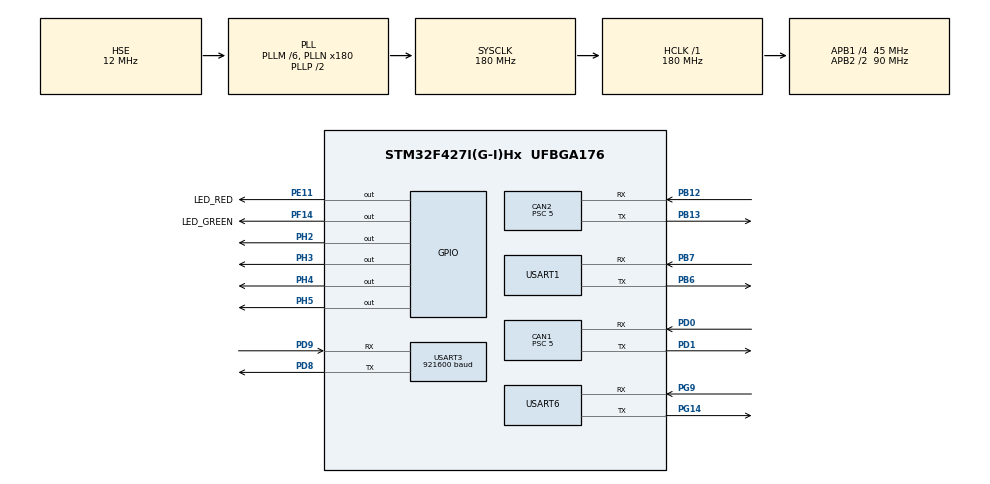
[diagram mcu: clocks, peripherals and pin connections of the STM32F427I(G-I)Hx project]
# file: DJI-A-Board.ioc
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CAN1.ABOM=ENABLE
CAN1.BS1=CAN_BS1_3TQ
CAN1.BS2=CAN_BS2_5TQ
CAN1.CalculateBaudRate=1000000
CAN1.CalculateTimeBit=1000
CAN1.CalculateTimeQuantum=111.11111111111111
CAN1.Prescaler=5
CAN2.ABOM=ENABLE
CAN2.BS1=CAN_BS1_3TQ
CAN2.BS2=CAN_BS2_5TQ
CAN2.CalculateBaudRate=1000000
CAN2.CalculateTimeBit=1000
CAN2.CalculateTimeQuantum=111.11111111111111
CAN2.Prescaler=5
Dma.Request0=USART6_RX
Dma.Request1=USART6_TX
Dma.Request2=USART1_RX
Dma.Request3=USART3_RX
Dma.USART1_RX.2.Direction=DMA_PERIPH_TO_MEMORY
Dma.USART1_RX.2.FIFOMode=DMA_FIFOMODE_DISABLE
Dma.USART1_RX.2.Instance=DMA2_Stream2
Dma.USART1_RX.2.MemDataAlignment=DMA_MDATAALIGN_BYTE
Dma.USART1_RX.2.MemInc=DMA_MINC_ENABLE
Dma.USART1_RX.2.Mode=DMA_NORMAL
Dma.USART1_RX.2.PeriphDataAlignment=DMA_PDATAALIGN_BYTE
Dma.USART1_RX.2.PeriphInc=DMA_PINC_DISABLE
Dma.USART1_RX.2.Priority=DMA_PRIORITY_LOW
Dma.USART3_RX.3.Direction=DMA_PERIPH_TO_MEMORY
Dma.USART3_RX.3.FIFOMode=DMA_FIFOMODE_DISABLE
Dma.USART3_RX.3.Instance=DMA1_Stream1
Dma.USART3_RX.3.MemDataAlignment=DMA_MDATAALIGN_BYTE
Dma.USART3_RX.3.MemInc=DMA_MINC_ENABLE
Dma.USART3_RX.3.Mode=DMA_NORMAL
Dma.USART3_RX.3.PeriphDataAlignment=DMA_PDATAALIGN_BYTE
Dma.USART3_RX.3.PeriphInc=DMA_PINC_DISABLE
Dma.USART3_RX.3.Priority=DMA_PRIORITY_LOW
Dma.USART6_RX.0.Direction=DMA_PERIPH_TO_MEMORY
Dma.USART6_RX.0.FIFOMode=DMA_FIFOMODE_DISABLE
Dma.USART6_RX.0.Instance=DMA2_Stream1
Dma.USART6_RX.0.MemDataAlignment=DMA_MDATAALIGN_BYTE
Dma.USART6_RX.0.MemInc=DMA_MINC_ENABLE
Dma.USART6_RX.0.Mode=DMA_NORMAL
Dma.USART6_RX.0.PeriphDataAlignment=DMA_PDATAALIGN_BYTE
Dma.USART6_RX.0.PeriphInc=DMA_PINC_DISABLE
Dma.USART6_RX.0.Priority=DMA_PRIORITY_LOW
Dma.USART6_TX.1.Direction=DMA_MEMORY_TO_PERIPH
Dma.USART6_TX.1.FIFOMode=DMA_FIFOMODE_DISABLE
Dma.USART6_TX.1.Instance=DMA2_Stream6
Dma.USART6_TX.1.MemDataAlignment=DMA_MDATAALIGN_BYTE
Dma.USART6_TX.1.MemInc=DMA_MINC_ENABLE
Dma.USART6_TX.1.Mode=DMA_NORMAL
Dma.USART6_TX.1.PeriphDataAlignment=DMA_PDATAALIGN_BYTE
Dma.USART6_TX.1.PeriphInc=DMA_PINC_DISABLE
Dma.USART6_TX.1.Priority=DMA_PRIORITY_LOW
Mcu.Family=STM32F4
Mcu.Name=STM32F427I(G-I)Hx
Mcu.Package=UFBGA176
NVIC.CAN1_RX0_IRQn=true\:0\:0\:false\:false\:true\:true\:true\:true
NVIC.DMA1_Stream1_IRQn=true\:0\:0\:false\:false\:true\:false\:true\:true
NVIC.DMA2_Stream1_IRQn=true\:0\:0\:false\:false\:true\:false\:true\:true
NVIC.DMA2_Stream2_IRQn=true\:0\:0\:false\:false\:true\:false\:true\:true
NVIC.DMA2_Stream6_IRQn=true\:0\:0\:false\:false\:true\:false\:true\:true
NVIC.PriorityGroup=NVIC_PRIORITYGROUP_4
NVIC.USART6_IRQn=true\:0\:0\:false\:false\:true\:true\:true\:true
PA13.Mode=Serial_Wire
PA13.Signal=SYS_JTMS-SWDIO
PA14.Mode=Serial_Wire
PA14.Signal=SYS_JTCK-SWCLK
PB12.Mode=CAN_Activate
PB12.Signal=CAN2_RX
PB13.Mode=CAN_Activate
PB13.Signal=CAN2_TX
PB6.Mode=Asynchronous
PB6.Signal=USART1_TX
PB7.Mode=Asynchronous
PB7.Signal=USART1_RX
PD0.Mode=CAN_Activate
PD0.Signal=CAN1_RX
PD1.Mode=CAN_Activate
PD1.Signal=CAN1_TX
PD8.GPIO_ModeDefaultPP=GPIO_MODE_AF_PP
PD8.Mode=Asynchronous
PD8.Signal=USART3_TX
PD9.GPIO_ModeDefaultPP=GPIO_MODE_AF_PP
PD9.Mode=Asynchronous
PD9.Signal=USART3_RX
PE11.GPIO_Label=LED_RED
PE11.GPIO_PuPd=GPIO_PULLUP
PE11.PinState=GPIO_PIN_SET
PE11.Signal=GPIO_Output
PF14.GPIO_Label=LED_GREEN
PF14.GPIO_PuPd=GPIO_PULLUP
PF14.PinState=GPIO_PIN_SET
PF14.Signal=GPIO_Output
PG14.GPIO_PuPd=GPIO_NOPULL
PG14.Mode=Asynchronous
PG14.Signal=USART6_TX
PG9.GPIO_PuPd=GPIO_NOPULL
PG9.Mode=Asynchronous
PG9.Signal=USART6_RX
PH0/OSC_IN.Mode=HSE-External-Oscillator
PH0/OSC_IN.Signal=RCC_OSC_IN
PH1/OSC_OUT.Mode=HSE-External-Oscillator
PH1/OSC_OUT.Signal=RCC_OSC_OUT
PH2.GPIO_PuPd=GPIO_PULLUP
PH2.PinState=GPIO_PIN_SET
PH2.Signal=GPIO_Output
PH3.GPIO_PuPd=GPIO_PULLUP
PH3.PinState=GPIO_PIN_SET
PH3.Signal=GPIO_Output
PH4.GPIO_PuPd=GPIO_PULLUP
PH4.PinState=GPIO_PIN_SET
PH4.Signal=GPIO_Output
PH5.GPIO_PuPd=GPIO_PULLUP
PH5.PinState=GPIO_PIN_SET
PH5.Signal=GPIO_Output
ProjectManager.HeapSize=0x200
ProjectManager.StackSize=0x400
ProjectManager.TargetToolchain=STM32CubeIDE
RCC.48MHZClocksFreq_Value=90000000
RCC.AHBFreq_Value=180000000
RCC.APB1CLKDivider=RCC_HCLK_DIV4
RCC.APB1Freq_Value=45000000
RCC.APB1TimFreq_Value=90000000
RCC.APB2CLKDivider=RCC_HCLK_DIV2
RCC.APB2Freq_Value=90000000
RCC.APB2TimFreq_Value=180000000
RCC.CortexFreq_Value=180000000
RCC.HCLKFreq_Value=180000000
RCC.HSE_VALUE=12000000
RCC.HSI_VALUE=16000000
RCC.LSE_VALUE=32768
RCC.PLLM=6
RCC.PLLN=180
RCC.PLLSourceVirtual=RCC_PLLSOURCE_HSE
RCC.SYSCLKFreq_VALUE=180000000
RCC.SYSCLKSource=RCC_SYSCLKSOURCE_PLLCLK
RCC.VCOOutputFreq_Value=360000000
TIM14.Period=10000-1
TIM14.Prescaler=45000-1
USART1.VirtualMode=VM_ASYNC
USART3.BaudRate=921600
USART3.VirtualMode=VM_ASYNC
USART6.VirtualMode=VM_ASYNC
VP_TIM14_VS_ClockSourceINT.Mode=Enable_Timer
board=custom

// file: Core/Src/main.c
/* USER CODE BEGIN Header */
/**
  ******************************************************************************
  * @file           : main.c
  * @brief          : Main program body
  ******************************************************************************
  * @attention
  *
  * Copyright (c) 2025 STMicroelectronics.
  * All rights reserved.
  *
  * This software is licensed under terms that can be found in the LICENSE file
  * in the root directory of this software component.
  * If no LICENSE file comes with this software, it is provided AS-IS.
  *
  ******************************************************************************
  */
/* USER CODE END Header */
#include "main.h"

/* USER CODE BEGIN Includes */
#include  "bsp.h"
#include <stdio.h>

/* USER CODE END Includes */

CAN_HandleTypeDef hcan1;
CAN_HandleTypeDef hcan2;

TIM_HandleTypeDef htim14;

UART_HandleTypeDef huart1;
UART_HandleTypeDef huart3;
UART_HandleTypeDef huart6;
DMA_HandleTypeDef hdma_usart1_rx;
DMA_HandleTypeDef hdma_usart3_rx;
DMA_HandleTypeDef hdma_usart6_rx;
DMA_HandleTypeDef hdma_usart6_tx;

void SystemClock_Config(void);
static void MX_GPIO_Init(void);
static void MX_DMA_Init(void);
static void MX_USART1_UART_Init(void);
static void MX_USART6_UART_Init(void);
static void MX_CAN1_Init(void);
static void MX_TIM14_Init(void);
static void MX_CAN2_Init(void);
static void MX_USART3_UART_Init(void);

int main(void)
{

  /* MCU Configuration--------------------------------------------------------*/

  /* Reset of all peripherals, Initializes the Flash interface and the Systick. */
  HAL_Init();

  /* Configure the system clock */
  SystemClock_Config();

  /* Initialize all configured peripherals */
  MX_GPIO_Init();
  MX_DMA_Init();
  MX_USART1_UART_Init();
  MX_USART6_UART_Init();
  MX_CAN1_Init();
  MX_TIM14_Init();
  MX_CAN2_Init();
  MX_USART3_UART_Init();
  /* USER CODE BEGIN 2 */

//  UART_Init(&user_debug_uart, &huart6, user_debug_uart_callback);
  DJI_VT03_Init(&user_vt03);
  DBUS_Init(&user_dbus_DR16, &huart1);
  LED_Init(&red_led, LED_RED_GPIO_Port, LED_RED_Pin, 1);
  LED_Init(&green_led, LED_GREEN_GPIO_Port, LED_GREEN_Pin, 1);
  CAN_Init(&user_can_1, &hcan1, user_can_1_callback);
  CAN_Init(&user_can_2, &hcan2, user_can_2_callback);
  DJI_Motor_Init(&PICH_GM6020, &user_can_1, 2, GM6020, Rotor_angle, 15.0f , 0.001f, 100.0f, 15000, 5000);
  DJI_Motor_Target(&PICH_GM6020, 3700.0700f);
  DJI_Motor_Init(&THC_GM6020, &user_can_1, 3, GM6020, Rotor_angle, 20.0f , 0.0f, 180.0f, 25000, 0);
  DJI_Motor_Target(&THC_GM6020, 5450);

  DJI_Motor_Init(&LW_M3508, &user_can_1, 2, M3508_gear, Rotor_speed, 20.0f , 0.0f, 180.0f, 10000, 0);
  DJI_Motor_Target(&LW_M3508, 0);
  DJI_Motor_Init(&RW_M3508, &user_can_1, 3, M3508_gear, Rotor_speed, 20.0f , 0.0f, 180.0f, 10000, 0);
  DJI_Motor_Target(&RW_M3508, 0);
//拨弹盘归位初始化
  DJI_Motor_Init(&TP_M2006, &user_can_1, 1, M2006, Rotor_speed, 10.0f , 0.0f, 0.0f, 5000, 0);
  DJI_Motor_Target(&TP_M2006, 100);

  /* USER CODE END 2 */

  /* Infinite loop */
  while (1)
  {

    /* USER CODE BEGIN 3 */
    LOOP_EVENT_Handle();
  }
  /* USER CODE END 3 */
}

void SystemClock_Config(void)
{
  RCC_OscInitTypeDef RCC_OscInitStruct = {0};
  RCC_ClkInitTypeDef RCC_ClkInitStruct = {0};

  /** Configure the main internal regulator output voltage
  */
  __HAL_RCC_PWR_CLK_ENABLE();
  __HAL_PWR_VOLTAGESCALING_CONFIG(PWR_REGULATOR_VOLTAGE_SCALE1);

  /** Initializes the RCC Oscillators according to the specified parameters
  * in the RCC_OscInitTypeDef structure.
  */
  RCC_OscInitStruct.OscillatorType = RCC_OSCILLATORTYPE_HSE;
  RCC_OscInitStruct.HSEState = RCC_HSE_ON;
  RCC_OscInitStruct.PLL.PLLState = RCC_PLL_ON;
  RCC_OscInitStruct.PLL.PLLSource = RCC_PLLSOURCE_HSE;
  RCC_OscInitStruct.PLL.PLLM = 6;
  RCC_OscInitStruct.PLL.PLLN = 180;
  RCC_OscInitStruct.PLL.PLLP = RCC_PLLP_DIV2;
  RCC_OscInitStruct.PLL.PLLQ = 4;
  if (HAL_RCC_OscConfig(&RCC_OscInitStruct) != HAL_OK)
  {
    Error_Handler();
  }

  /** Activate the Over-Drive mode
  */
  if (HAL_PWREx_EnableOverDrive() != HAL_OK)
  {
    Error_Handler();
  }

  /** Initializes the CPU, AHB and APB buses clocks
  */
  RCC_ClkInitStruct.ClockType = RCC_CLOCKTYPE_HCLK|RCC_CLOCKTYPE_SYSCLK
                              |RCC_CLOCKTYPE_PCLK1|RCC_CLOCKTYPE_PCLK2;
  RCC_ClkInitStruct.SYSCLKSource = RCC_SYSCLKSOURCE_PLLCLK;
  RCC_ClkInitStruct.AHBCLKDivider = RCC_SYSCLK_DIV1;
  RCC_ClkInitStruct.APB1CLKDivider = RCC_HCLK_DIV4;
  RCC_ClkInitStruct.APB2CLKDivider = RCC_HCLK_DIV2;

  if (HAL_RCC_ClockConfig(&RCC_ClkInitStruct, FLASH_LATENCY_5) != HAL_OK)
  {
    Error_Handler();
  }
}

static void MX_CAN1_Init(void)
{

  hcan1.Instance = CAN1;
  hcan1.Init.Prescaler = 5;
  hcan1.Init.Mode = CAN_MODE_NORMAL;
  hcan1.Init.SyncJumpWidth = CAN_SJW_1TQ;
  hcan1.Init.TimeSeg1 = CAN_BS1_3TQ;
  hcan1.Init.TimeSeg2 = CAN_BS2_5TQ;
  hcan1.Init.TimeTriggeredMode = DISABLE;
  hcan1.Init.AutoBusOff = ENABLE;
  hcan1.Init.AutoWakeUp = DISABLE;
  hcan1.Init.AutoRetransmission = DISABLE;
  hcan1.Init.ReceiveFifoLocked = DISABLE;
  hcan1.Init.TransmitFifoPriority = DISABLE;
  if (HAL_CAN_Init(&hcan1) != HAL_OK)
  {
    Error_Handler();
  }

}

static void MX_CAN2_Init(void)
{

  hcan2.Instance = CAN2;
  hcan2.Init.Prescaler = 5;
  hcan2.Init.Mode = CAN_MODE_NORMAL;
  hcan2.Init.SyncJumpWidth = CAN_SJW_1TQ;
  hcan2.Init.TimeSeg1 = CAN_BS1_3TQ;
  hcan2.Init.TimeSeg2 = CAN_BS2_5TQ;
  hcan2.Init.TimeTriggeredMode = DISABLE;
  hcan2.Init.AutoBusOff = ENABLE;
  hcan2.Init.AutoWakeUp = DISABLE;
  hcan2.Init.AutoRetransmission = DISABLE;
  hcan2.Init.ReceiveFifoLocked = DISABLE;
  hcan2.Init.TransmitFifoPriority = DISABLE;
  if (HAL_CAN_Init(&hcan2) != HAL_OK)
  {
    Error_Handler();
  }

}

static void MX_TIM14_Init(void)
{

  htim14.Instance = TIM14;
  htim14.Init.Prescaler = 45000-1;
  htim14.Init.CounterMode = TIM_COUNTERMODE_UP;
  htim14.Init.Period = 10000-1;
  htim14.Init.ClockDivision = TIM_CLOCKDIVISION_DIV1;
  htim14.Init.AutoReloadPreload = TIM_AUTORELOAD_PRELOAD_DISABLE;
  if (HAL_TIM_Base_Init(&htim14) != HAL_OK)
  {
    Error_Handler();
  }

}

static void MX_USART1_UART_Init(void)
{

  huart1.Instance = USART1;
  huart1.Init.BaudRate = 115200;
  huart1.Init.WordLength = UART_WORDLENGTH_8B;
  huart1.Init.StopBits = UART_STOPBITS_1;
  huart1.Init.Parity = UART_PARITY_NONE;
  huart1.Init.Mode = UART_MODE_TX_RX;
  huart1.Init.HwFlowCtl = UART_HWCONTROL_NONE;
  huart1.Init.OverSampling = UART_OVERSAMPLING_16;
  if (HAL_UART_Init(&huart1) != HAL_OK)
  {
    Error_Handler();
  }

}

static void MX_USART3_UART_Init(void)
{

  huart3.Instance = USART3;
  huart3.Init.BaudRate = 921600;
  huart3.Init.WordLength = UART_WORDLENGTH_8B;
  huart3.Init.StopBits = UART_STOPBITS_1;
  huart3.Init.Parity = UART_PARITY_NONE;
  huart3.Init.Mode = UART_MODE_TX_RX;
  huart3.Init.HwFlowCtl = UART_HWCONTROL_NONE;
  huart3.Init.OverSampling = UART_OVERSAMPLING_16;
  if (HAL_UART_Init(&huart3) != HAL_OK)
  {
    Error_Handler();
  }

}

static void MX_USART6_UART_Init(void)
{

  huart6.Instance = USART6;
  huart6.Init.BaudRate = 115200;
  huart6.Init.WordLength = UART_WORDLENGTH_8B;
  huart6.Init.StopBits = UART_STOPBITS_1;
  huart6.Init.Parity = UART_PARITY_NONE;
  huart6.Init.Mode = UART_MODE_TX_RX;
  huart6.Init.HwFlowCtl = UART_HWCONTROL_NONE;
  huart6.Init.OverSampling = UART_OVERSAMPLING_16;
  if (HAL_UART_Init(&huart6) != HAL_OK)
  {
    Error_Handler();
  }

}

static void MX_DMA_Init(void)
{

  /* DMA controller clock enable */
  __HAL_RCC_DMA2_CLK_ENABLE();
  __HAL_RCC_DMA1_CLK_ENABLE();

  /* DMA interrupt init */
  /* DMA1_Stream1_IRQn interrupt configuration */
  HAL_NVIC_SetPriority(DMA1_Stream1_IRQn, 0, 0);
  HAL_NVIC_EnableIRQ(DMA1_Stream1_IRQn);
  /* DMA2_Stream1_IRQn interrupt configuration */
  HAL_NVIC_SetPriority(DMA2_Stream1_IRQn, 0, 0);
  HAL_NVIC_EnableIRQ(DMA2_Stream1_IRQn);
  /* DMA2_Stream2_IRQn interrupt configuration */
  HAL_NVIC_SetPriority(DMA2_Stream2_IRQn, 0, 0);
  HAL_NVIC_EnableIRQ(DMA2_Stream2_IRQn);
  /* DMA2_Stream6_IRQn interrupt configuration */
  HAL_NVIC_SetPriority(DMA2_Stream6_IRQn, 0, 0);
  HAL_NVIC_EnableIRQ(DMA2_Stream6_IRQn);

}

static void MX_GPIO_Init(void)
{
  GPIO_InitTypeDef GPIO_InitStruct = {0};

  /* GPIO Ports Clock Enable */
  __HAL_RCC_GPIOG_CLK_ENABLE();
  __HAL_RCC_GPIOA_CLK_ENABLE();
  __HAL_RCC_GPIOB_CLK_ENABLE();
  __HAL_RCC_GPIOD_CLK_ENABLE();
  __HAL_RCC_GPIOH_CLK_ENABLE();
  __HAL_RCC_GPIOE_CLK_ENABLE();
  __HAL_RCC_GPIOF_CLK_ENABLE();

  /*Configure GPIO pin Output Level */
  HAL_GPIO_WritePin(GPIOH, GPIO_PIN_2|GPIO_PIN_3|GPIO_PIN_4|GPIO_PIN_5, GPIO_PIN_SET);

  /*Configure GPIO pin Output Level */
  HAL_GPIO_WritePin(LED_RED_GPIO_Port, LED_RED_Pin, GPIO_PIN_SET);

  /*Configure GPIO pin Output Level */
  HAL_GPIO_WritePin(LED_GREEN_GPIO_Port, LED_GREEN_Pin, GPIO_PIN_SET);

  /*Configure GPIO pins : PH2 PH3 PH4 PH5 */
  GPIO_InitStruct.Pin = GPIO_PIN_2|GPIO_PIN_3|GPIO_PIN_4|GPIO_PIN_5;
  GPIO_InitStruct.Mode = GPIO_MODE_OUTPUT_PP;
  GPIO_InitStruct.Pull = GPIO_PULLUP;
  GPIO_InitStruct.Speed = GPIO_SPEED_FREQ_LOW;
  HAL_GPIO_Init(GPIOH, &GPIO_InitStruct);

  /*Configure GPIO pin : LED_RED_Pin */
  GPIO_InitStruct.Pin = LED_RED_Pin;
  GPIO_InitStruct.Mode = GPIO_MODE_OUTPUT_PP;
  GPIO_InitStruct.Pull = GPIO_PULLUP;
  GPIO_InitStruct.Speed = GPIO_SPEED_FREQ_LOW;
  HAL_GPIO_Init(LED_RED_GPIO_Port, &GPIO_InitStruct);

  /*Configure GPIO pin : LED_GREEN_Pin */
  GPIO_InitStruct.Pin = LED_GREEN_Pin;
  GPIO_InitStruct.Mode = GPIO_MODE_OUTPUT_PP;
  GPIO_InitStruct.Pull = GPIO_PULLUP;
  GPIO_InitStruct.Speed = GPIO_SPEED_FREQ_LOW;
  HAL_GPIO_Init(LED_GREEN_GPIO_Port, &GPIO_InitStruct);

}

void Error_Handler(void)
{
  __disable_irq();
  while (1)
  {
  }
}
